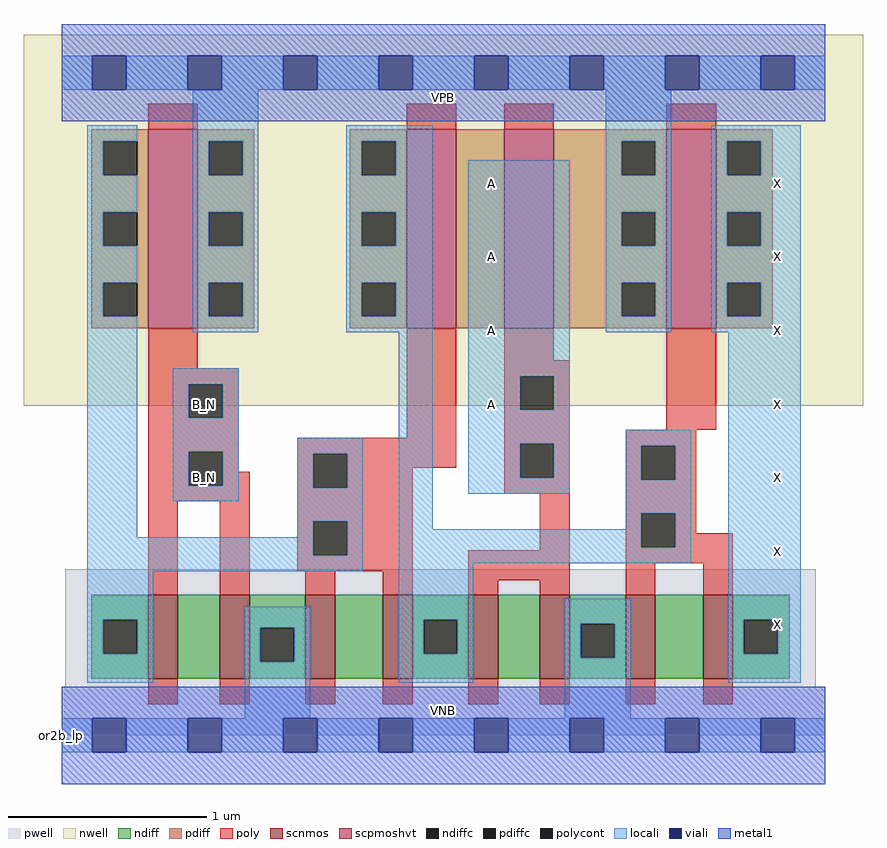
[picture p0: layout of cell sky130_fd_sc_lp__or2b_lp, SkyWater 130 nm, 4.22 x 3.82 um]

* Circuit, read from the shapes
.subckt sky130_fd_sc_lp__or2b_lp A B_N VGND VNB VPB VPWR X
XM1 n1 B_N n2 VNB sky130_fd_pr__nfet_01v8 w=0.42 l=0.15
XM2 VGND B_N n1 VNB sky130_fd_pr__nfet_01v8 w=0.42 l=0.15
XM3 n3 n2 VGND VNB sky130_fd_pr__nfet_01v8 w=0.42 l=0.15
XM4 n4 n2 n3 VNB sky130_fd_pr__nfet_01v8 w=0.42 l=0.15
XM5 n5 A n4 VNB sky130_fd_pr__nfet_01v8 w=0.42 l=0.15
XM6 VGND A n5 VNB sky130_fd_pr__nfet_01v8 w=0.42 l=0.15
XM7 n6 n4 VGND VNB sky130_fd_pr__nfet_01v8 w=0.42 l=0.15
XM8 X n4 n6 VNB sky130_fd_pr__nfet_01v8 w=0.42 l=0.15
XM9 VPWR B_N n2 VPB sky130_fd_pr__pfet_01v8_hvt w=1 l=0.25
XM10 n7 n2 n4 VPB sky130_fd_pr__pfet_01v8_hvt w=1 l=0.25
XM11 VPWR A n7 VPB sky130_fd_pr__pfet_01v8_hvt w=1 l=0.25
XM12 X n4 VPWR VPB sky130_fd_pr__pfet_01v8_hvt w=1 l=0.25
.ends

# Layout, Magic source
magic
tech sky130A
magscale 1 2
<< nwell >>
rect -38 331 806 704
<< pwell >>
rect 4 49 758 167
rect 0 0 768 49
<< scnmos >>
rect 87 57 117 141
rect 159 57 189 141
rect 245 57 275 141
rect 323 57 353 141
rect 409 57 439 141
rect 481 57 511 141
rect 567 57 597 141
rect 645 57 675 141
<< scpmoshvt >>
rect 87 409 137 609
rect 347 409 397 609
rect 445 409 495 609
rect 608 409 658 609
<< ndiff >>
rect 30 116 87 141
rect 30 82 42 116
rect 76 82 87 116
rect 30 57 87 82
rect 117 57 159 141
rect 189 108 245 141
rect 189 74 200 108
rect 234 74 245 108
rect 189 57 245 74
rect 275 57 323 141
rect 353 116 409 141
rect 353 82 364 116
rect 398 82 409 116
rect 353 57 409 82
rect 439 57 481 141
rect 511 112 567 141
rect 511 78 522 112
rect 556 78 567 112
rect 511 57 567 78
rect 597 57 645 141
rect 675 116 732 141
rect 675 82 686 116
rect 720 82 732 116
rect 675 57 732 82
<< pdiff >>
rect 30 597 87 609
rect 30 563 42 597
rect 76 563 87 597
rect 30 526 87 563
rect 30 492 42 526
rect 76 492 87 526
rect 30 455 87 492
rect 30 421 42 455
rect 76 421 87 455
rect 30 409 87 421
rect 137 597 194 609
rect 137 563 148 597
rect 182 563 194 597
rect 137 526 194 563
rect 137 492 148 526
rect 182 492 194 526
rect 137 455 194 492
rect 137 421 148 455
rect 182 421 194 455
rect 137 409 194 421
rect 290 597 347 609
rect 290 563 302 597
rect 336 563 347 597
rect 290 526 347 563
rect 290 492 302 526
rect 336 492 347 526
rect 290 455 347 492
rect 290 421 302 455
rect 336 421 347 455
rect 290 409 347 421
rect 397 409 445 609
rect 495 597 608 609
rect 495 563 563 597
rect 597 563 608 597
rect 495 526 608 563
rect 495 492 563 526
rect 597 492 608 526
rect 495 455 608 492
rect 495 421 563 455
rect 597 421 608 455
rect 495 409 608 421
rect 658 597 715 609
rect 658 563 669 597
rect 703 563 715 597
rect 658 526 715 563
rect 658 492 669 526
rect 703 492 715 526
rect 658 455 715 492
rect 658 421 669 455
rect 703 421 715 455
rect 658 409 715 421
<< ndiffc >>
rect 42 82 76 116
rect 200 74 234 108
rect 364 82 398 116
rect 522 78 556 112
rect 686 82 720 116
<< pdiffc >>
rect 42 563 76 597
rect 42 492 76 526
rect 42 421 76 455
rect 148 563 182 597
rect 148 492 182 526
rect 148 421 182 455
rect 302 563 336 597
rect 302 492 336 526
rect 302 421 336 455
rect 563 563 597 597
rect 563 492 597 526
rect 563 421 597 455
rect 669 563 703 597
rect 669 492 703 526
rect 669 421 703 455
<< poly >>
rect 87 609 137 635
rect 347 609 397 635
rect 445 609 495 635
rect 608 609 658 635
rect 87 369 137 409
rect 87 353 178 369
rect 87 319 128 353
rect 162 319 178 353
rect 87 285 178 319
rect 347 299 397 409
rect 87 251 128 285
rect 162 265 178 285
rect 237 283 397 299
rect 162 251 189 265
rect 87 235 189 251
rect 87 141 117 235
rect 159 141 189 235
rect 237 249 253 283
rect 287 269 397 283
rect 445 377 495 409
rect 445 361 511 377
rect 445 327 461 361
rect 495 327 511 361
rect 445 293 511 327
rect 608 307 658 409
rect 287 249 353 269
rect 237 215 353 249
rect 445 259 461 293
rect 495 259 511 293
rect 445 243 511 259
rect 237 181 253 215
rect 287 181 353 215
rect 481 186 511 243
rect 237 165 353 181
rect 245 141 275 165
rect 323 141 353 165
rect 409 156 511 186
rect 409 141 439 156
rect 481 141 511 156
rect 567 291 638 307
rect 567 257 583 291
rect 617 257 638 291
rect 567 223 638 257
rect 567 189 583 223
rect 617 203 638 223
rect 617 189 675 203
rect 567 173 675 189
rect 567 141 597 173
rect 645 141 675 173
rect 87 31 117 57
rect 159 31 189 57
rect 245 31 275 57
rect 323 31 353 57
rect 409 31 439 57
rect 481 31 511 57
rect 567 31 597 57
rect 645 31 675 57
<< polycont >>
rect 128 319 162 353
rect 128 251 162 285
rect 253 249 287 283
rect 461 327 495 361
rect 461 259 495 293
rect 253 181 287 215
rect 583 257 617 291
rect 583 189 617 223
<< locali >>
rect 0 649 31 683
rect 65 649 127 683
rect 161 649 223 683
rect 257 649 319 683
rect 353 649 415 683
rect 449 649 511 683
rect 545 649 607 683
rect 641 649 703 683
rect 737 649 768 683
rect 26 597 76 613
rect 26 563 42 597
rect 26 526 76 563
rect 26 492 42 526
rect 26 455 76 492
rect 26 421 42 455
rect 26 199 76 421
rect 132 597 198 649
rect 132 563 148 597
rect 182 563 198 597
rect 132 526 198 563
rect 132 492 148 526
rect 182 492 198 526
rect 132 455 198 492
rect 132 421 148 455
rect 182 421 198 455
rect 132 405 198 421
rect 286 597 373 613
rect 286 563 302 597
rect 336 563 373 597
rect 547 597 613 649
rect 286 526 373 563
rect 286 492 302 526
rect 336 492 373 526
rect 286 455 373 492
rect 286 421 302 455
rect 336 421 373 455
rect 286 405 373 421
rect 112 353 178 369
rect 112 319 128 353
rect 162 319 178 353
rect 112 285 178 319
rect 112 251 128 285
rect 162 251 178 285
rect 112 235 178 251
rect 237 283 303 299
rect 237 249 253 283
rect 287 249 303 283
rect 237 215 303 249
rect 237 199 253 215
rect 26 181 253 199
rect 287 181 303 215
rect 26 165 303 181
rect 339 207 373 405
rect 409 361 511 578
rect 547 563 563 597
rect 597 563 613 597
rect 547 526 613 563
rect 547 492 563 526
rect 597 492 613 526
rect 547 455 613 492
rect 547 421 563 455
rect 597 421 613 455
rect 547 405 613 421
rect 653 597 743 613
rect 653 563 669 597
rect 703 563 743 597
rect 653 526 743 563
rect 653 492 669 526
rect 703 492 743 526
rect 653 455 743 492
rect 653 421 669 455
rect 703 421 743 455
rect 653 405 743 421
rect 409 327 461 361
rect 495 327 511 361
rect 409 293 511 327
rect 409 259 461 293
rect 495 259 511 293
rect 409 243 511 259
rect 567 291 633 307
rect 567 257 583 291
rect 617 257 633 291
rect 567 223 633 257
rect 567 207 583 223
rect 339 189 583 207
rect 617 189 633 223
rect 339 173 633 189
rect 26 116 92 165
rect 26 82 42 116
rect 76 82 92 116
rect 26 53 92 82
rect 184 108 250 129
rect 184 74 200 108
rect 234 74 250 108
rect 184 17 250 74
rect 339 116 414 173
rect 339 82 364 116
rect 398 82 414 116
rect 339 53 414 82
rect 506 112 572 137
rect 506 78 522 112
rect 556 78 572 112
rect 506 17 572 78
rect 670 116 743 405
rect 670 82 686 116
rect 720 82 743 116
rect 670 53 743 82
rect 0 -17 31 17
rect 65 -17 127 17
rect 161 -17 223 17
rect 257 -17 319 17
rect 353 -17 415 17
rect 449 -17 511 17
rect 545 -17 607 17
rect 641 -17 703 17
rect 737 -17 768 17
<< viali >>
rect 31 649 65 683
rect 127 649 161 683
rect 223 649 257 683
rect 319 649 353 683
rect 415 649 449 683
rect 511 649 545 683
rect 607 649 641 683
rect 703 649 737 683
rect 31 -17 65 17
rect 127 -17 161 17
rect 223 -17 257 17
rect 319 -17 353 17
rect 415 -17 449 17
rect 511 -17 545 17
rect 607 -17 641 17
rect 703 -17 737 17
<< metal1 >>
rect 0 683 768 715
rect 0 649 31 683
rect 65 649 127 683
rect 161 649 223 683
rect 257 649 319 683
rect 353 649 415 683
rect 449 649 511 683
rect 545 649 607 683
rect 641 649 703 683
rect 737 649 768 683
rect 0 617 768 649
rect 0 17 768 49
rect 0 -17 31 17
rect 65 -17 127 17
rect 161 -17 223 17
rect 257 -17 319 17
rect 353 -17 415 17
rect 449 -17 511 17
rect 545 -17 607 17
rect 641 -17 703 17
rect 737 -17 768 17
rect 0 -49 768 -17
<< labels >>
flabel pwell s 0 0 768 49 0 FreeSans 200 0 0 0 VNB
port 4 nsew ground bidirectional
flabel nwell s 0 617 768 666 0 FreeSans 200 0 0 0 VPB
port 5 nsew power bidirectional
rlabel comment s 0 0 0 0 4 or2b_lp
flabel metal1 s 0 617 768 666 0 FreeSans 340 0 0 0 VPWR
port 6 nsew power bidirectional
flabel metal1 s 0 0 768 49 0 FreeSans 340 0 0 0 VGND
port 3 nsew ground bidirectional
flabel locali s 127 242 161 276 0 FreeSans 340 0 0 0 B_N
port 2 nsew signal input
flabel locali s 127 316 161 350 0 FreeSans 340 0 0 0 B_N
port 2 nsew signal input
flabel locali s 415 316 449 350 0 FreeSans 340 0 0 0 A
port 1 nsew signal input
flabel locali s 415 390 449 424 0 FreeSans 340 0 0 0 A
port 1 nsew signal input
flabel locali s 415 464 449 498 0 FreeSans 340 0 0 0 A
port 1 nsew signal input
flabel locali s 415 538 449 572 0 FreeSans 340 0 0 0 A
port 1 nsew signal input
flabel locali s 703 94 737 128 0 FreeSans 340 0 0 0 X
port 7 nsew signal output
flabel locali s 703 168 737 202 0 FreeSans 340 0 0 0 X
port 7 nsew signal output
flabel locali s 703 242 737 276 0 FreeSans 340 0 0 0 X
port 7 nsew signal output
flabel locali s 703 316 737 350 0 FreeSans 340 0 0 0 X
port 7 nsew signal output
flabel locali s 703 390 737 424 0 FreeSans 340 0 0 0 X
port 7 nsew signal output
flabel locali s 703 464 737 498 0 FreeSans 340 0 0 0 X
port 7 nsew signal output
flabel locali s 703 538 737 572 0 FreeSans 340 0 0 0 X
port 7 nsew signal output
<< properties >>
string LEFsite unit
string LEFclass CORE
string FIXED_BBOX 0 0 768 666
string GDS_FILE $PDKPATH/libs.ref/sky130_fd_sc_lp/gds/sky130_fd_sc_lp.gds
string LEFsymmetry X Y R90
string GDS_END 2244936
string GDS_START 2237600
<< end >>
